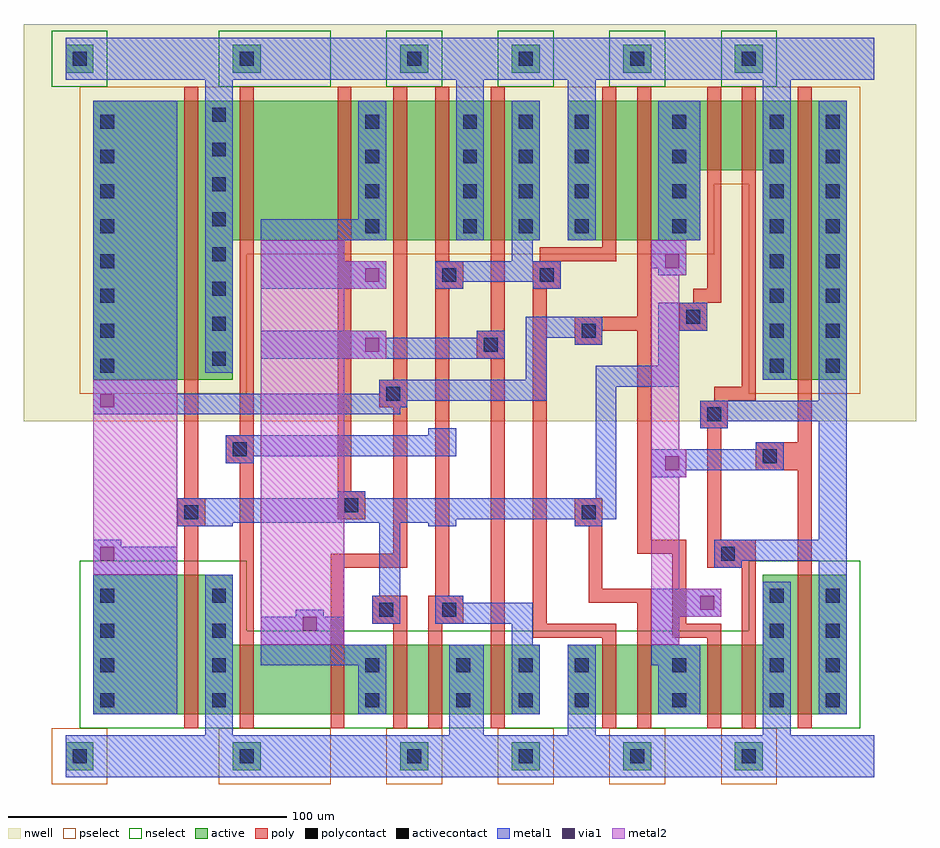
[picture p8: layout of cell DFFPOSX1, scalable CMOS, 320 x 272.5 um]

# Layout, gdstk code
import gdstk
lib = gdstk.Library(unit=1e-6, precision=1e-09)
def R(c, l, rs):  # rectangles x0, y0, x1, y1
    for r in rs: c.add(gdstk.rectangle(r[:2], r[2:], *l))
def A(c, l, x, y, w, h, nx, ny, dx, dy):  # array of equal rectangles
    R(c, l, [(x+i*dx, y+j*dy, x+i*dx+w, y+j*dy+h) for i in range(nx) for j in range(ny)])
def P(c, l, *ps):  # polygons
    for p in ps: c.add(gdstk.Polygon(p, *l))
nwell = (42, 0)
active = (43, 0)
pselect = (44, 0)
nselect = (45, 0)
poly = (46, 0)
polycontact = (47, 0)
activecontact = (48, 0)
metal1 = (49, 0)
via1 = (50, 0)
metal2 = (51, 0)

dffposx1 = lib.new_cell('DFFPOSX1')
R(dffposx1, nwell, [(-20,120,300,262.5)])
A(dffposx1, active, -5, -5, 10, 10, 3, 2, 60, 250)
A(dffposx1, active, 155, -5, 10, 10, 3, 2, 40, 250)
R(dffposx1, active, [(5,15,165,40), (175,15,275,40), (5,40,55,65), (245,40,275,65), (5,135,55,185), (245,135,275,210), (5,185,165,235), (175,185,222.5,210), (175,210,275,235)])
A(dffposx1, pselect, 110, -10, 20, 20, 4, 1, 40, 0)
R(dffposx1, pselect, [(-10,-10,10,10), (50,-10,90,10), (0,130,60,180), (240,130,280,205), (0,180,227.5,205), (0,205,280,240)])
A(dffposx1, nselect, 110, 240, 20, 20, 4, 1, 40, 0)
R(dffposx1, nselect, [(0,10,280,45), (0,45,60,70), (240,45,280,70), (-10,240,10,260), (50,240,90,260)])
R(dffposx1, poly, [(37.5,10,42.5,82.5), (57.5,10,62.5,105), (90,10,95,67.5), (112.5,10,117.5,47.5), (125,10,130,47.5), (147.5,10,152.5,142.5), (187.5,10,192.5,42.5), (200,10,205,55), (225,10,230,42.5), (237.5,10,242.5,67.5), (257.5,10,262.5,102.5), (162.5,42.5,192.5,47.5), (212.5,42.5,230,47.5), (105,47.5,117.5,57.5), (125,47.5,137.5,57.5), (162.5,47.5,167.5,167.5), (212.5,47.5,217.5,72.5), (182.5,55,205,60), (127.5,57.5,132.5,167.5), (182.5,60,187.5,82.5), (90,67.5,117.5,72.5), (225,67.5,242.5,77.5), (112.5,72.5,117.5,125), (200,72.5,217.5,77.5), (200,77.5,205,152.5), (225,77.5,230,117.5), (35,82.5,45,92.5), (177.5,82.5,187.5,92.5), (92.5,85,102.5,95), (37.5,92.5,42.5,240), (92.5,95,97.5,240), (242.5,102.5,262.5,112.5), (52.5,105,62.5,115), (257.5,112.5,262.5,240), (57.5,115,62.5,240), (222.5,117.5,232.5,127.5), (107.5,125,117.5,135), (227.5,127.5,242.5,132.5), (237.5,132.5,242.5,240), (112.5,135,117.5,240), (142.5,142.5,152.5,152.5), (177.5,147.5,187.5,152.5), (147.5,152.5,152.5,240), (177.5,152.5,205,157.5), (215,152.5,225,162.5), (200,157.5,205,240), (220,162.5,230,167.5), (127.5,167.5,137.5,177.5), (162.5,167.5,172.5,177.5), (225,167.5,230,240), (127.5,177.5,132.5,240), (165,177.5,192.5,182.5), (187.5,182.5,192.5,240)])
R(dffposx1, polycontact, [(107.5,50,112.5,55), (130,50,135,55), (230,70,235,75), (37.5,85,42.5,90), (180,85,185,90), (95,87.5,100,92.5), (245,105,250,110), (55,107.5,60,112.5), (225,120,230,125), (110,127.5,115,132.5), (145,145,150,150), (180,150,185,155), (217.5,155,222.5,160), (130,170,135,175), (165,170,170,175)])
A(dffposx1, activecontact, -2.5, -2.5, 5, 5, 3, 2, 60, 250)
A(dffposx1, activecontact, 157.5, -2.5, 5, 5, 3, 2, 40, 250)
A(dffposx1, activecontact, 7.5, 17.5, 5, 5, 1, 4, 0, 12.5)
A(dffposx1, activecontact, 47.5, 17.5, 5, 5, 1, 4, 0, 12.5)
A(dffposx1, activecontact, 177.5, 17.5, 5, 5, 3, 2, 35, 12.5)
A(dffposx1, activecontact, 267.5, 17.5, 5, 5, 1, 4, 0, 12.5)
A(dffposx1, activecontact, 7.5, 137.5, 5, 5, 1, 8, 0, 12.5)
A(dffposx1, activecontact, 247.5, 137.5, 5, 5, 1, 8, 0, 12.5)
A(dffposx1, activecontact, 267.5, 137.5, 5, 5, 1, 8, 0, 12.5)
A(dffposx1, activecontact, 47.5, 140, 5, 5, 1, 8, 0, 12.5)
A(dffposx1, activecontact, 102.5, 187.5, 5, 5, 1, 4, 0, 12.5)
A(dffposx1, activecontact, 137.5, 187.5, 5, 5, 3, 4, 20, 12.5)
A(dffposx1, activecontact, 212.5, 187.5, 5, 5, 1, 4, 0, 12.5)
R(dffposx1, activecontact, [(102.5,17.5,107.5,22.5), (135,17.5,140,22.5), (157.5,17.5,162.5,22.5), (102.5,30,107.5,35), (135,30,140,35), (157.5,30,162.5,35), (247.5,42.5,252.5,47.5), (247.5,55,252.5,60)])
R(dffposx1, metal1, [(125,82.5,135,92.5), (46.25,83.75,133.75,91.25)])
P(dffposx1, metal1, [(100,15),(100,32.5),(65,32.5),(65,50),(77.5,50),(77.5,52.5),(87.5,52.5),(87.5,50),(95,50),(95,40),(110,40),(110,15)],
  [(155,15),(155,47.5),(127.5,47.5),(127.5,57.5),(137.5,57.5),(137.5,55),(162.5,55),(162.5,40),(165,40),(165,15)],
  [(207.5,15),(207.5,32.5),(205,32.5),(205,60),(230,60),(230,50),(215,50),(215,40),(222.5,40),(222.5,15)],
  [(-5,-7.5),(-5,7.5),(45,7.5),(45,65),(55,65),(55,7.5),(132.5,7.5),(132.5,40),(145,40),(145,7.5),(175,7.5),(175,40),(185,40),(185,7.5),(245,7.5),(245,62.5),(255,62.5),(255,7.5),(285,7.5),(285,-7.5)],
  [(5,15),(5,77.5),(15,77.5),(15,75),(35,75),(35,15)],
  [(205,100),(205,110),(242.5,110),(242.5,112.5),(252.5,112.5),(252.5,102.5),(217.5,102.5),(217.5,100)],
  [(52.5,105),(52.5,115),(125,115),(125,117.5),(135,117.5),(135,107.5),(62.5,107.5),(62.5,105)],
  [(65,142.5),(65,152.5),(110,152.5),(110,150),(142.5,150),(142.5,152.5),(152.5,152.5),(152.5,142.5)],
  [(105,47.5),(105,57.5),(107.5,57.5),(107.5,85),(55,85),(55,82.5),(35,82.5),(35,92.5),(92.5,92.5),(92.5,95),(102.5,95),(102.5,92.5),(185,92.5),(185,140),(207.5,140),(207.5,162.5),(225,162.5),(225,152.5),(215,152.5),(215,132.5),(192.5,132.5),(192.5,85),(187.5,85),(187.5,82.5),(177.5,82.5),(177.5,85),(115,85),(115,47.5)],
  [(5,122.5),(5,235),(35,235),(35,130),(107.5,130),(107.5,135),(160,135),(160,157.5),(187.5,157.5),(187.5,147.5),(177.5,147.5),(177.5,150),(167.5,150),(167.5,127.5),(117.5,127.5),(117.5,125),(115,125),(115,122.5)],
  [(65,167.5),(65,192.5),(100,192.5),(100,235),(110,235),(110,185),(95,185),(95,177.5),(110,177.5),(110,167.5)],
  [(127.5,167.5),(127.5,177.5),(155,177.5),(155,235),(165,235),(165,185),(162.5,185),(162.5,177.5),(172.5,177.5),(172.5,167.5),(162.5,167.5),(162.5,170),(137.5,170),(137.5,167.5)],
  [(207.5,172.5),(207.5,175),(205,175),(205,185),(207.5,185),(207.5,235),(222.5,235),(222.5,185),(217.5,185),(217.5,172.5)],
  [(265,15),(265,70),(237.5,70),(237.5,67.5),(227.5,67.5),(227.5,77.5),(265,77.5),(265,120),(232.5,120),(232.5,117.5),(222.5,117.5),(222.5,127.5),(265,127.5),(265,235),(275,235),(275,15)],
  [(245,135),(245,242.5),(185,242.5),(185,185),(175,185),(175,242.5),(145,242.5),(145,185),(135,185),(135,242.5),(55,242.5),(55,137.5),(45,137.5),(45,242.5),(-5,242.5),(-5,257.5),(285,257.5),(285,242.5),(255,242.5),(255,135)])
R(dffposx1, via1, [(80,45,85,50), (222.5,52.5,227.5,57.5), (7.5,70,12.5,75), (210,102.5,215,107.5), (7.5,125,12.5,130), (102.5,145,107.5,150), (102.5,170,107.5,175), (210,175,215,180)])
R(dffposx1, metal2, [(5,65,35,135)])
P(dffposx1, metal2, [(65,40),(65,185),(95,185),(95,177.5),(110,177.5),(110,167.5),(95,167.5),(95,152.5),(110,152.5),(110,142.5),(95,142.5),(95,40)],
  [(205,40),(205,185),(217.5,185),(217.5,172.5),(215,172.5),(215,110),(217.5,110),(217.5,100),(215,100),(215,60),(230,60),(230,50),(215,50),(215,40)])

lib.write_gds('DFFPOSX1.gds')
